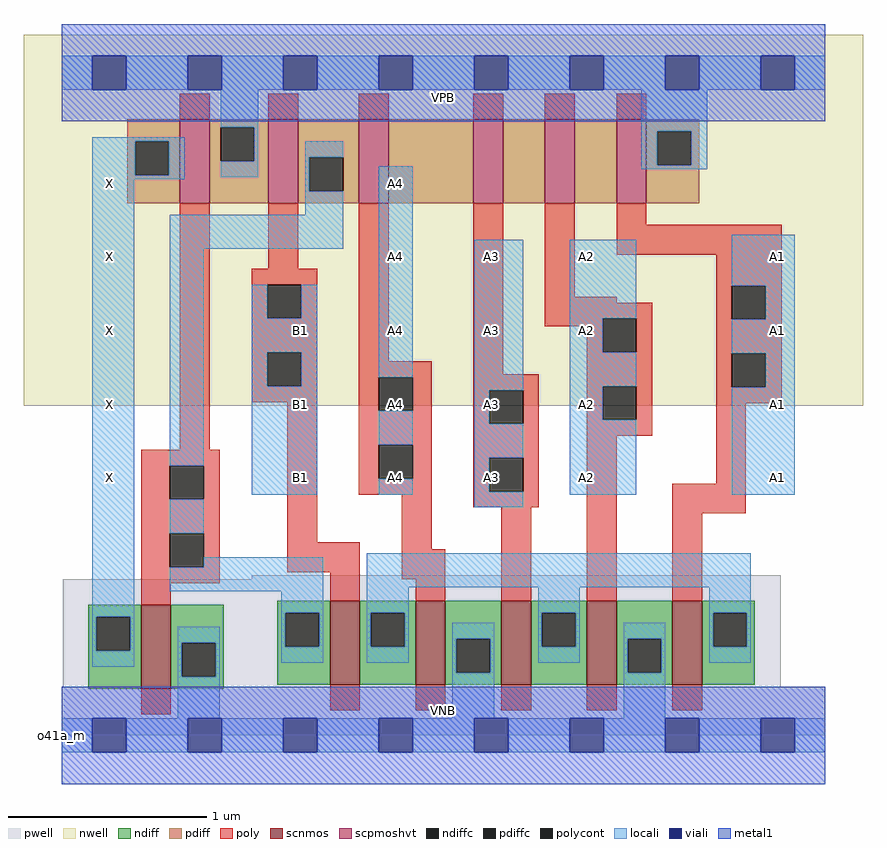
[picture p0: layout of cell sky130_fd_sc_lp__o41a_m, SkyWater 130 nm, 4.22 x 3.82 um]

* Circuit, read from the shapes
.subckt sky130_fd_sc_lp__o41a_m A1 A2 A3 A4 B1 VGND VNB VPB VPWR X
XM1 VGND n1 X VNB sky130_fd_pr__nfet_01v8 w=0.42 l=0.15
XM2 n2 B1 n1 VNB sky130_fd_pr__nfet_01v8 w=0.42 l=0.15
XM3 VGND A4 n2 VNB sky130_fd_pr__nfet_01v8 w=0.42 l=0.15
XM4 n2 A3 VGND VNB sky130_fd_pr__nfet_01v8 w=0.42 l=0.15
XM5 VGND A2 n2 VNB sky130_fd_pr__nfet_01v8 w=0.42 l=0.15
XM6 n2 A1 VGND VNB sky130_fd_pr__nfet_01v8 w=0.42 l=0.15
XM7 VPWR n1 X VPB sky130_fd_pr__pfet_01v8_hvt w=0.42 l=0.15
XM8 n1 B1 VPWR VPB sky130_fd_pr__pfet_01v8_hvt w=0.42 l=0.15
XM9 n3 A4 n1 VPB sky130_fd_pr__pfet_01v8_hvt w=0.42 l=0.15
XM10 n4 A3 n3 VPB sky130_fd_pr__pfet_01v8_hvt w=0.42 l=0.15
XM11 n5 A2 n4 VPB sky130_fd_pr__pfet_01v8_hvt w=0.42 l=0.15
XM12 VPWR A1 n5 VPB sky130_fd_pr__pfet_01v8_hvt w=0.42 l=0.15
.ends

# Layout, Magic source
magic
tech sky130A
magscale 1 2
<< nwell >>
rect -38 331 806 704
<< pwell >>
rect 191 157 723 161
rect 1 49 723 157
rect 0 0 768 49
<< scnmos >>
rect 80 47 110 131
rect 270 51 300 135
rect 356 51 386 135
rect 442 51 472 135
rect 528 51 558 135
rect 614 51 644 135
<< scpmoshvt >>
rect 119 535 149 619
rect 208 535 238 619
rect 299 535 329 619
rect 414 535 444 619
rect 486 535 516 619
rect 558 535 588 619
<< ndiff >>
rect 27 119 80 131
rect 27 85 35 119
rect 69 85 80 119
rect 27 47 80 85
rect 110 93 163 131
rect 110 59 121 93
rect 155 59 163 93
rect 110 47 163 59
rect 217 123 270 135
rect 217 89 225 123
rect 259 89 270 123
rect 217 51 270 89
rect 300 123 356 135
rect 300 89 311 123
rect 345 89 356 123
rect 300 51 356 89
rect 386 97 442 135
rect 386 63 397 97
rect 431 63 442 97
rect 386 51 442 63
rect 472 123 528 135
rect 472 89 483 123
rect 517 89 528 123
rect 472 51 528 89
rect 558 97 614 135
rect 558 63 569 97
rect 603 63 614 97
rect 558 51 614 63
rect 644 123 697 135
rect 644 89 655 123
rect 689 89 697 123
rect 644 51 697 89
<< pdiff >>
rect 66 597 119 619
rect 66 563 74 597
rect 108 563 119 597
rect 66 535 119 563
rect 149 611 208 619
rect 149 577 160 611
rect 194 577 208 611
rect 149 535 208 577
rect 238 581 299 619
rect 238 547 249 581
rect 283 547 299 581
rect 238 535 299 547
rect 329 535 414 619
rect 444 535 486 619
rect 516 535 558 619
rect 588 607 641 619
rect 588 573 599 607
rect 633 573 641 607
rect 588 535 641 573
<< ndiffc >>
rect 35 85 69 119
rect 121 59 155 93
rect 225 89 259 123
rect 311 89 345 123
rect 397 63 431 97
rect 483 89 517 123
rect 569 63 603 97
rect 655 89 689 123
<< pdiffc >>
rect 74 563 108 597
rect 160 577 194 611
rect 249 547 283 581
rect 599 573 633 607
<< poly >>
rect 119 619 149 645
rect 208 619 238 645
rect 299 619 329 645
rect 414 619 444 645
rect 486 619 516 645
rect 558 619 588 645
rect 119 287 149 535
rect 208 469 238 535
rect 191 453 257 469
rect 191 419 207 453
rect 241 419 257 453
rect 191 385 257 419
rect 191 351 207 385
rect 241 351 257 385
rect 191 335 257 351
rect 80 271 159 287
rect 80 237 109 271
rect 143 237 159 271
rect 80 203 159 237
rect 80 169 109 203
rect 143 169 159 203
rect 80 153 159 169
rect 227 194 257 335
rect 299 376 329 535
rect 299 360 372 376
rect 299 326 319 360
rect 353 326 372 360
rect 299 292 372 326
rect 299 258 319 292
rect 353 258 372 292
rect 299 242 372 258
rect 227 164 300 194
rect 80 131 110 153
rect 270 135 300 164
rect 342 187 372 242
rect 414 363 444 535
rect 486 441 516 535
rect 558 513 588 535
rect 558 483 724 513
rect 658 452 724 483
rect 486 435 558 441
rect 486 419 594 435
rect 486 411 544 419
rect 528 385 544 411
rect 578 385 594 419
rect 414 347 480 363
rect 414 313 430 347
rect 464 313 480 347
rect 414 279 480 313
rect 414 245 430 279
rect 464 245 480 279
rect 414 229 480 245
rect 528 351 594 385
rect 528 317 544 351
rect 578 317 594 351
rect 528 301 594 317
rect 658 418 674 452
rect 708 418 724 452
rect 658 384 724 418
rect 658 350 674 384
rect 708 350 724 384
rect 658 334 724 350
rect 342 157 386 187
rect 356 135 386 157
rect 442 135 472 229
rect 528 135 558 301
rect 658 253 688 334
rect 614 223 688 253
rect 614 135 644 223
rect 80 21 110 47
rect 270 25 300 51
rect 356 25 386 51
rect 442 25 472 51
rect 528 25 558 51
rect 614 25 644 51
<< polycont >>
rect 207 419 241 453
rect 207 351 241 385
rect 109 237 143 271
rect 109 169 143 203
rect 319 326 353 360
rect 319 258 353 292
rect 544 385 578 419
rect 430 313 464 347
rect 430 245 464 279
rect 544 317 578 351
rect 674 418 708 452
rect 674 350 708 384
<< locali >>
rect 0 649 31 683
rect 65 649 127 683
rect 161 649 223 683
rect 257 649 319 683
rect 353 649 415 683
rect 449 649 511 683
rect 545 649 607 683
rect 641 649 703 683
rect 737 649 768 683
rect 160 611 198 649
rect 31 597 124 601
rect 31 563 74 597
rect 108 563 124 597
rect 31 559 124 563
rect 194 577 198 611
rect 583 607 649 649
rect 160 561 198 577
rect 245 581 283 597
rect 31 119 73 559
rect 245 547 249 581
rect 583 573 599 607
rect 633 573 649 607
rect 245 523 283 547
rect 109 489 283 523
rect 109 271 143 489
rect 191 419 207 453
rect 241 419 257 453
rect 191 385 257 419
rect 191 351 207 385
rect 241 351 257 385
rect 191 242 257 351
rect 319 360 353 572
rect 583 569 649 573
rect 319 292 353 326
rect 319 242 353 258
rect 415 347 464 498
rect 415 313 430 347
rect 415 279 464 313
rect 415 245 430 279
rect 109 203 143 237
rect 415 229 464 245
rect 511 419 578 498
rect 511 385 544 419
rect 511 351 578 385
rect 511 317 544 351
rect 511 242 578 317
rect 674 452 737 503
rect 708 418 737 452
rect 674 384 737 418
rect 708 350 737 384
rect 674 242 737 350
rect 143 169 263 179
rect 109 145 263 169
rect 31 85 35 119
rect 69 85 73 119
rect 221 123 263 145
rect 31 69 73 85
rect 117 93 159 109
rect 117 59 121 93
rect 155 59 159 93
rect 221 89 225 123
rect 259 89 263 123
rect 221 73 263 89
rect 307 149 693 183
rect 307 123 349 149
rect 307 89 311 123
rect 345 89 349 123
rect 479 123 521 149
rect 307 73 349 89
rect 393 97 435 113
rect 117 17 159 59
rect 393 63 397 97
rect 431 63 435 97
rect 479 89 483 123
rect 517 89 521 123
rect 651 123 693 149
rect 479 73 521 89
rect 565 97 607 113
rect 393 17 435 63
rect 565 63 569 97
rect 603 63 607 97
rect 651 89 655 123
rect 689 89 693 123
rect 651 73 693 89
rect 565 17 607 63
rect 0 -17 31 17
rect 65 -17 127 17
rect 161 -17 223 17
rect 257 -17 319 17
rect 353 -17 415 17
rect 449 -17 511 17
rect 545 -17 607 17
rect 641 -17 703 17
rect 737 -17 768 17
<< viali >>
rect 31 649 65 683
rect 127 649 161 683
rect 223 649 257 683
rect 319 649 353 683
rect 415 649 449 683
rect 511 649 545 683
rect 607 649 641 683
rect 703 649 737 683
rect 31 -17 65 17
rect 127 -17 161 17
rect 223 -17 257 17
rect 319 -17 353 17
rect 415 -17 449 17
rect 511 -17 545 17
rect 607 -17 641 17
rect 703 -17 737 17
<< metal1 >>
rect 0 683 768 715
rect 0 649 31 683
rect 65 649 127 683
rect 161 649 223 683
rect 257 649 319 683
rect 353 649 415 683
rect 449 649 511 683
rect 545 649 607 683
rect 641 649 703 683
rect 737 649 768 683
rect 0 617 768 649
rect 0 17 768 49
rect 0 -17 31 17
rect 65 -17 127 17
rect 161 -17 223 17
rect 257 -17 319 17
rect 353 -17 415 17
rect 449 -17 511 17
rect 545 -17 607 17
rect 641 -17 703 17
rect 737 -17 768 17
rect 0 -49 768 -17
<< labels >>
flabel pwell s 0 0 768 49 0 FreeSans 200 0 0 0 VNB
port 7 nsew ground bidirectional
flabel nwell s 0 617 768 666 0 FreeSans 200 0 0 0 VPB
port 8 nsew power bidirectional
rlabel comment s 0 0 0 0 4 o41a_m
flabel metal1 s 0 617 768 666 0 FreeSans 340 0 0 0 VPWR
port 9 nsew power bidirectional
flabel metal1 s 0 0 768 49 0 FreeSans 340 0 0 0 VGND
port 6 nsew ground bidirectional
flabel locali s 511 242 545 276 0 FreeSans 340 0 0 0 A2
port 2 nsew signal input
flabel locali s 511 316 545 350 0 FreeSans 340 0 0 0 A2
port 2 nsew signal input
flabel locali s 511 390 545 424 0 FreeSans 340 0 0 0 A2
port 2 nsew signal input
flabel locali s 511 464 545 498 0 FreeSans 340 0 0 0 A2
port 2 nsew signal input
flabel locali s 415 242 449 276 0 FreeSans 340 0 0 0 A3
port 3 nsew signal input
flabel locali s 415 316 449 350 0 FreeSans 340 0 0 0 A3
port 3 nsew signal input
flabel locali s 415 390 449 424 0 FreeSans 340 0 0 0 A3
port 3 nsew signal input
flabel locali s 415 464 449 498 0 FreeSans 340 0 0 0 A3
port 3 nsew signal input
flabel locali s 319 242 353 276 0 FreeSans 340 0 0 0 A4
port 4 nsew signal input
flabel locali s 319 316 353 350 0 FreeSans 340 0 0 0 A4
port 4 nsew signal input
flabel locali s 319 390 353 424 0 FreeSans 340 0 0 0 A4
port 4 nsew signal input
flabel locali s 319 464 353 498 0 FreeSans 340 0 0 0 A4
port 4 nsew signal input
flabel locali s 319 538 353 572 0 FreeSans 340 0 0 0 A4
port 4 nsew signal input
flabel locali s 703 242 737 276 0 FreeSans 340 0 0 0 A1
port 1 nsew signal input
flabel locali s 703 316 737 350 0 FreeSans 340 0 0 0 A1
port 1 nsew signal input
flabel locali s 703 390 737 424 0 FreeSans 340 0 0 0 A1
port 1 nsew signal input
flabel locali s 703 464 737 498 0 FreeSans 340 0 0 0 A1
port 1 nsew signal input
flabel locali s 223 242 257 276 0 FreeSans 340 0 0 0 B1
port 5 nsew signal input
flabel locali s 223 316 257 350 0 FreeSans 340 0 0 0 B1
port 5 nsew signal input
flabel locali s 223 390 257 424 0 FreeSans 340 0 0 0 B1
port 5 nsew signal input
flabel locali s 31 242 65 276 0 FreeSans 340 0 0 0 X
port 10 nsew signal output
flabel locali s 31 316 65 350 0 FreeSans 340 0 0 0 X
port 10 nsew signal output
flabel locali s 31 390 65 424 0 FreeSans 340 0 0 0 X
port 10 nsew signal output
flabel locali s 31 464 65 498 0 FreeSans 340 0 0 0 X
port 10 nsew signal output
flabel locali s 31 538 65 572 0 FreeSans 340 0 0 0 X
port 10 nsew signal output
<< properties >>
string LEFsite unit
string LEFclass CORE
string FIXED_BBOX 0 0 768 666
string GDS_FILE $PDKPATH/libs.ref/sky130_fd_sc_lp/gds/sky130_fd_sc_lp.gds
string LEFsymmetry X Y R90
string GDS_END 483138
string GDS_START 474104
<< end >>
